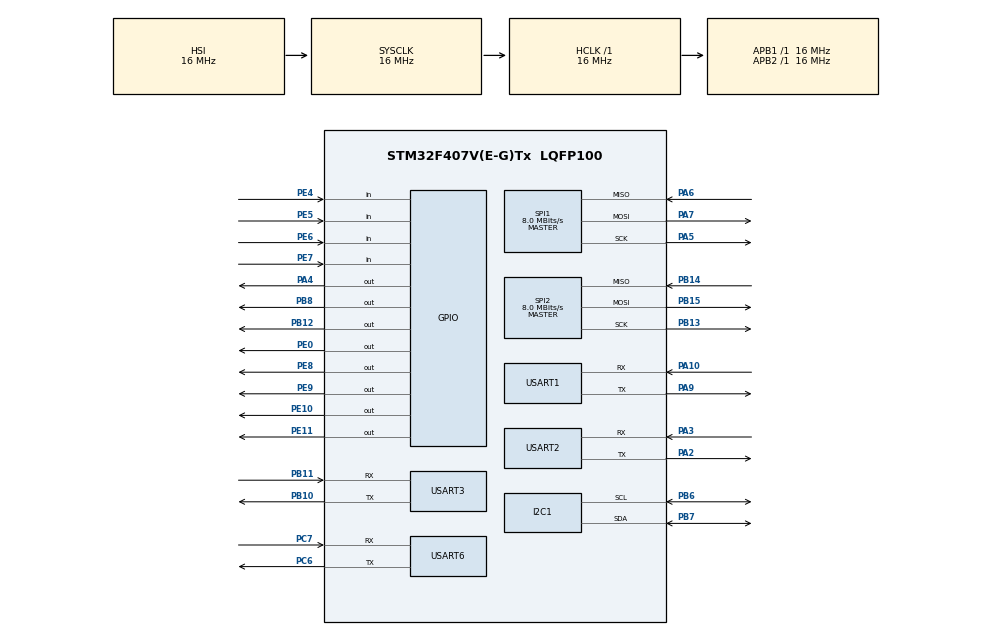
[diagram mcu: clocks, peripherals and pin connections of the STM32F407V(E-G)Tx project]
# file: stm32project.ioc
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FREERTOS.BinarySemaphores01=myBinarySem01,Dynamic,NULL,Available
FREERTOS.CountingSemaphores01=myCountingSem01,2,Dynamic,NULL,0
FREERTOS.Mutexes01=myMutex01,Dynamic,NULL,Available
FREERTOS.Queues01=myQueue01,16,uint16_t,0,Dynamic,NULL,NULL
FREERTOS.RecursiveMutexes01=myRecursiveMutex01,Dynamic,NULL,Available
FREERTOS.Tasks01=defaultTask,24,128,StartDefaultTask,Default,NULL,Dynamic,NULL,NULL;myTask02,8,128,StartTask02,Default,NULL,Dynamic,NULL,NULL
FREERTOS.Timers01=myTimer01,Callback01,osTimerPeriodic,Default,NULL,Dynamic,NULL
FREERTOS.configTOTAL_HEAP_SIZE=30720
FREERTOS.configUSE_NEWLIB_REENTRANT=1
Mcu.Family=STM32F4
Mcu.Name=STM32F407V(E-G)Tx
Mcu.Package=LQFP100
NVIC.PriorityGroup=NVIC_PRIORITYGROUP_4
NVIC.TIM1_UP_TIM10_IRQn=true\:15\:0\:false\:false\:true\:false\:false\:true\:true
NVIC.TimeBase=TIM1_UP_TIM10_IRQn
NVIC.TimeBaseIP=TIM1
NVIC.USART1_IRQn=true\:5\:0\:false\:false\:true\:true\:true\:true\:true
NVIC.USART2_IRQn=true\:5\:0\:false\:false\:true\:true\:true\:true\:true
NVIC.USART3_IRQn=true\:5\:0\:false\:false\:true\:true\:true\:true\:true
NVIC.USART6_IRQn=true\:5\:0\:false\:false\:true\:true\:true\:true\:true
PA10.Mode=Asynchronous
PA10.Signal=USART1_RX
PA13.Mode=Serial_Wire
PA13.Signal=SYS_JTMS-SWDIO
PA14.Mode=Serial_Wire
PA14.Signal=SYS_JTCK-SWCLK
PA2.Mode=Asynchronous
PA2.Signal=USART2_TX
PA3.Mode=Asynchronous
PA3.Signal=USART2_RX
PA4.Signal=GPIO_Output
PA5.Mode=Full_Duplex_Master
PA5.Signal=SPI1_SCK
PA6.Mode=Full_Duplex_Master
PA6.Signal=SPI1_MISO
PA7.Mode=Full_Duplex_Master
PA7.Signal=SPI1_MOSI
PA9.Mode=Asynchronous
PA9.Signal=USART1_TX
PB10.Mode=Asynchronous
PB10.Signal=USART3_TX
PB11.Mode=Asynchronous
PB11.Signal=USART3_RX
PB12.Signal=GPIO_Output
PB13.Mode=Full_Duplex_Master
PB13.Signal=SPI2_SCK
PB14.Mode=Full_Duplex_Master
PB14.Signal=SPI2_MISO
PB15.Mode=Full_Duplex_Master
PB15.Signal=SPI2_MOSI
PB6.Mode=I2C
PB6.Signal=I2C1_SCL
PB7.Mode=I2C
PB7.Signal=I2C1_SDA
PB8.Signal=GPIO_Output
PC14-OSC32_IN.Mode=LSE-External-Oscillator
PC14-OSC32_IN.Signal=RCC_OSC32_IN
PC15-OSC32_OUT.Mode=LSE-External-Oscillator
PC15-OSC32_OUT.Signal=RCC_OSC32_OUT
PC6.Mode=Asynchronous
PC6.Signal=USART6_TX
PC7.Mode=Asynchronous
PC7.Signal=USART6_RX
PE0.Signal=GPIO_Output
PE10.Signal=GPIO_Output
PE11.Signal=GPIO_Output
PE4.Signal=GPIO_Input
PE5.Signal=GPIO_Input
PE6.Signal=GPIO_Input
PE7.Signal=GPIO_Input
PE8.Signal=GPIO_Output
PE9.Signal=GPIO_Output
PH0-OSC_IN.Mode=HSE-External-Oscillator
PH0-OSC_IN.Signal=RCC_OSC_IN
PH1-OSC_OUT.Mode=HSE-External-Oscillator
PH1-OSC_OUT.Signal=RCC_OSC_OUT
ProjectManager.HeapSize=0x200
ProjectManager.StackSize=0x400
ProjectManager.TargetToolchain=CMake
RCC.AHBFreq_Value=16000000
RCC.APB1Freq_Value=16000000
RCC.APB2Freq_Value=16000000
RCC.CortexFreq_Value=16000000
RCC.HSE_VALUE=25000000
RCC.HSI_VALUE=16000000
RCC.SYSCLKFreq_VALUE=16000000
RCC.VCOOutputFreq_Value=192000000
SPI1.CalculateBaudRate=8.0 MBits/s
SPI1.Direction=SPI_DIRECTION_2LINES
SPI1.Mode=SPI_MODE_MASTER
SPI1.VirtualType=VM_MASTER
SPI2.CalculateBaudRate=8.0 MBits/s
SPI2.Direction=SPI_DIRECTION_2LINES
SPI2.Mode=SPI_MODE_MASTER
SPI2.VirtualType=VM_MASTER
USART1.VirtualMode=VM_ASYNC
USART2.VirtualMode=VM_ASYNC
USART3.VirtualMode=VM_ASYNC
USART6.VirtualMode=VM_ASYNC
VP_FREERTOS_VS_CMSIS_V2.Mode=CMSIS_V2
VP_IWDG_VS_IWDG.Mode=IWDG_Activate
VP_RTC_VS_RTC_Activate.Mode=RTC_Enabled
VP_RTC_VS_RTC_Calendar.Mode=RTC_Calendar
VP_SYS_VS_tim1.Mode=TIM1
board=custom

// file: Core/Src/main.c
/* USER CODE BEGIN Header */
/**
  ******************************************************************************
  * @file           : main.c
  * @brief          : Main program body
  ******************************************************************************
  * @attention
  *
  * Copyright (c) 2026 STMicroelectronics.
  * All rights reserved.
  *
  * This software is licensed under terms that can be found in the LICENSE file
  * in the root directory of this software component.
  * If no LICENSE file comes with this software, it is provided AS-IS.
  *
  ******************************************************************************
  */
/* USER CODE END Header */
#include "main.h"
#include "cmsis_os.h"

/* USER CODE BEGIN Includes */
#include "task_auth.h"
#include "task_display.h"
#include "task_cloud.h"
#include "task_keypad.h"
#include "task_logger.h"
#include "task_supervisor.h"
#include "drv_relay.h"
#include "drv_buzzer.h"
/* USER CODE END Includes */

I2C_HandleTypeDef hi2c1;

IWDG_HandleTypeDef hiwdg;

RTC_HandleTypeDef hrtc;

SPI_HandleTypeDef hspi1;
SPI_HandleTypeDef hspi2;

UART_HandleTypeDef huart1;
UART_HandleTypeDef huart2;
UART_HandleTypeDef huart3;
UART_HandleTypeDef huart6;

/* Definitions for defaultTask */
osThreadId_t defaultTaskHandle;
const osThreadAttr_t defaultTask_attributes = {
  .name = "defaultTask",
  .stack_size = 128 * 4,
  .priority = (osPriority_t) osPriorityNormal,
};
/* Definitions for myTask02 */
osThreadId_t myTask02Handle;
const osThreadAttr_t myTask02_attributes = {
  .name = "myTask02",
  .stack_size = 128 * 4,
  .priority = (osPriority_t) osPriorityLow,
};
/* Definitions for myQueue01 */
osMessageQueueId_t myQueue01Handle;
const osMessageQueueAttr_t myQueue01_attributes = {
  .name = "myQueue01"
};
/* Definitions for myTimer01 */
osTimerId_t myTimer01Handle;
const osTimerAttr_t myTimer01_attributes = {
  .name = "myTimer01"
};
/* Definitions for myMutex01 */
osMutexId_t myMutex01Handle;
const osMutexAttr_t myMutex01_attributes = {
  .name = "myMutex01"
};
/* Definitions for myRecursiveMutex01 */
osMutexId_t myRecursiveMutex01Handle;
const osMutexAttr_t myRecursiveMutex01_attributes = {
  .name = "myRecursiveMutex01",
  .attr_bits = osMutexRecursive,
};
/* Definitions for myBinarySem01 */
osSemaphoreId_t myBinarySem01Handle;
const osSemaphoreAttr_t myBinarySem01_attributes = {
  .name = "myBinarySem01"
};
/* Definitions for myCountingSem01 */
osSemaphoreId_t myCountingSem01Handle;
const osSemaphoreAttr_t myCountingSem01_attributes = {
  .name = "myCountingSem01"
};
/* USER CODE BEGIN PV */
system_state_t g_sys_state = STATE_IDLE;
uint32_t g_boot_time = 0;
EventGroupHandle_t g_sys_events = NULL;
QueueHandle_t g_auth_queue = NULL, g_log_queue = NULL, g_display_queue = NULL, g_cloud_queue = NULL, g_cmd_queue = NULL;
SemaphoreHandle_t g_flash_mutex = NULL, g_user_mutex = NULL, g_display_mutex = NULL;
/* USER CODE END PV */

void SystemClock_Config(void);
static void MX_GPIO_Init(void);
static void MX_I2C1_Init(void);
static void MX_IWDG_Init(void);
static void MX_RTC_Init(void);
static void MX_SPI1_Init(void);
static void MX_SPI2_Init(void);
static void MX_USART1_UART_Init(void);
static void MX_USART2_UART_Init(void);
static void MX_USART3_UART_Init(void);
static void MX_USART6_UART_Init(void);
void StartDefaultTask(void *argument);
void StartTask02(void *argument);
void Callback01(void *argument);

/* USER CODE BEGIN 0 */
void system_set_state(system_state_t s) { g_sys_state = s; }

const char* auth_method_str(auth_method_t m) {
    switch (m) {
        case AUTH_METHOD_FINGERPRINT: return "fingerprint";
        case AUTH_METHOD_RFID:        return "RFID";
        case AUTH_METHOD_PASSWORD:    return "password";
        default:                      return "unknown";
    }
}

const char* auth_result_str(auth_result_t r) {
    switch (r) {
        case AUTH_SUCCESS:      return "success";
        case AUTH_FAIL_WRONG:   return "wrong";
        case AUTH_FAIL_LOCKOUT: return "lockout";
        default:                return "unknown";
    }
}

uint32_t get_timestamp(void) { return HAL_GetTick() + g_boot_time; }
/* USER CODE END 0 */

int main(void)
{

  /* MCU Configuration--------------------------------------------------------*/

  /* Reset of all peripherals, Initializes the Flash interface and the Systick. */
  HAL_Init();

  /* Configure the system clock */
  SystemClock_Config();

  /* Initialize all configured peripherals */
  MX_GPIO_Init();
  MX_I2C1_Init();
  MX_IWDG_Init();
  MX_RTC_Init();
  MX_SPI1_Init();
  MX_SPI2_Init();
  MX_USART1_UART_Init();
  MX_USART2_UART_Init();
  MX_USART3_UART_Init();
  MX_USART6_UART_Init();
  /* USER CODE BEGIN 2 */
  g_boot_time = HAL_GetTick();
  relay_init();
  buzzer_init();
  /* USER CODE END 2 */

  /* Init scheduler */
  osKernelInitialize();
  /* Create the mutex(es) */
  /* creation of myMutex01 */
  myMutex01Handle = osMutexNew(&myMutex01_attributes);

  /* Create the recursive mutex(es) */
  /* creation of myRecursiveMutex01 */
  myRecursiveMutex01Handle = osMutexNew(&myRecursiveMutex01_attributes);

  /* Create the semaphores(s) */
  /* creation of myBinarySem01 */
  myBinarySem01Handle = osSemaphoreNew(1, 1, &myBinarySem01_attributes);

  /* creation of myCountingSem01 */
  myCountingSem01Handle = osSemaphoreNew(2, 0, &myCountingSem01_attributes);

  /* Create the timer(s) */
  /* creation of myTimer01 */
  myTimer01Handle = osTimerNew(Callback01, osTimerPeriodic, NULL, &myTimer01_attributes);

  /* Create the queue(s) */
  /* creation of myQueue01 */
  myQueue01Handle = osMessageQueueNew (16, sizeof(uint16_t), &myQueue01_attributes);

  /* USER CODE BEGIN RTOS_QUEUES */
  /* add queues, ... */
  g_sys_events = xEventGroupCreate();
  g_auth_queue = xQueueCreate(QUEUE_AUTH_DEPTH, sizeof(auth_request_t));
  g_log_queue = xQueueCreate(QUEUE_LOG_DEPTH, sizeof(log_entry_t));
  g_display_queue = xQueueCreate(10, sizeof(uint8_t));
  g_cloud_queue = xQueueCreate(10, sizeof(uint8_t));
  g_cmd_queue = xQueueCreate(5, sizeof(uint8_t));
  g_flash_mutex = xSemaphoreCreateMutex();
  g_user_mutex = xSemaphoreCreateMutex();
  g_display_mutex = xSemaphoreCreateMutex();
  /* USER CODE END RTOS_QUEUES */

  /* Create the thread(s) */
  /* creation of defaultTask */
  defaultTaskHandle = osThreadNew(StartDefaultTask, NULL, &defaultTask_attributes);

  /* creation of myTask02 */
  myTask02Handle = osThreadNew(StartTask02, NULL, &myTask02_attributes);

  /* USER CODE BEGIN RTOS_THREADS */
  /* add threads, ... */
  xTaskCreate(task_auth_entry,      "Auth",   STACK_AUTH,       NULL, PRIO_AUTH,       NULL);
  xTaskCreate(task_display_entry,   "Disp",   STACK_DISPLAY,    NULL, PRIO_DISPLAY,    NULL);
  xTaskCreate(task_keypad_entry,    "Keypad", STACK_KEYPAD,     NULL, PRIO_KEYPAD,     NULL);
  xTaskCreate(task_logger_entry,    "Logger", STACK_LOGGER,     NULL, PRIO_LOGGER,     NULL);
  xTaskCreate(task_cloud_entry,     "Cloud",  STACK_CLOUD,      NULL, PRIO_CLOUD,      NULL);
  xTaskCreate(task_supervisor_entry,"Super",  STACK_SUPERVISOR, NULL, PRIO_SUPERVISOR, NULL);
  /* USER CODE END RTOS_THREADS */

  /* Start scheduler */
  osKernelStart();

  /* We should never get here as control is now taken by the scheduler */

  /* Infinite loop */
  while (1)
  {

  }
}

void SystemClock_Config(void)
{
  RCC_OscInitTypeDef RCC_OscInitStruct = {0};
  RCC_ClkInitTypeDef RCC_ClkInitStruct = {0};

  /** Configure the main internal regulator output voltage
  */
  __HAL_RCC_PWR_CLK_ENABLE();
  __HAL_PWR_VOLTAGESCALING_CONFIG(PWR_REGULATOR_VOLTAGE_SCALE1);

  /** Initializes the RCC Oscillators according to the specified parameters
  * in the RCC_OscInitTypeDef structure.
  */
  RCC_OscInitStruct.OscillatorType = RCC_OSCILLATORTYPE_HSI|RCC_OSCILLATORTYPE_LSI;
  RCC_OscInitStruct.HSIState = RCC_HSI_ON;
  RCC_OscInitStruct.HSICalibrationValue = RCC_HSICALIBRATION_DEFAULT;
  RCC_OscInitStruct.LSIState = RCC_LSI_ON;
  RCC_OscInitStruct.PLL.PLLState = RCC_PLL_NONE;
  if (HAL_RCC_OscConfig(&RCC_OscInitStruct) != HAL_OK)
  {
    Error_Handler();
  }

  /** Initializes the CPU, AHB and APB buses clocks
  */
  RCC_ClkInitStruct.ClockType = RCC_CLOCKTYPE_HCLK|RCC_CLOCKTYPE_SYSCLK
                              |RCC_CLOCKTYPE_PCLK1|RCC_CLOCKTYPE_PCLK2;
  RCC_ClkInitStruct.SYSCLKSource = RCC_SYSCLKSOURCE_HSI;
  RCC_ClkInitStruct.AHBCLKDivider = RCC_SYSCLK_DIV1;
  RCC_ClkInitStruct.APB1CLKDivider = RCC_HCLK_DIV1;
  RCC_ClkInitStruct.APB2CLKDivider = RCC_HCLK_DIV1;

  if (HAL_RCC_ClockConfig(&RCC_ClkInitStruct, FLASH_LATENCY_0) != HAL_OK)
  {
    Error_Handler();
  }
}

static void MX_I2C1_Init(void)
{

  hi2c1.Instance = I2C1;
  hi2c1.Init.ClockSpeed = 100000;
  hi2c1.Init.DutyCycle = I2C_DUTYCYCLE_2;
  hi2c1.Init.OwnAddress1 = 0;
  hi2c1.Init.AddressingMode = I2C_ADDRESSINGMODE_7BIT;
  hi2c1.Init.DualAddressMode = I2C_DUALADDRESS_DISABLE;
  hi2c1.Init.OwnAddress2 = 0;
  hi2c1.Init.GeneralCallMode = I2C_GENERALCALL_DISABLE;
  hi2c1.Init.NoStretchMode = I2C_NOSTRETCH_DISABLE;
  if (HAL_I2C_Init(&hi2c1) != HAL_OK)
  {
    Error_Handler();
  }

}

static void MX_IWDG_Init(void)
{

  hiwdg.Instance = IWDG;
  hiwdg.Init.Prescaler = IWDG_PRESCALER_4;
  hiwdg.Init.Reload = 4095;
  if (HAL_IWDG_Init(&hiwdg) != HAL_OK)
  {
    Error_Handler();
  }

}

static void MX_RTC_Init(void)
{

  RTC_TimeTypeDef sTime = {0};
  RTC_DateTypeDef sDate = {0};

  /** Initialize RTC Only
  */
  hrtc.Instance = RTC;
  hrtc.Init.HourFormat = RTC_HOURFORMAT_24;
  hrtc.Init.AsynchPrediv = 127;
  hrtc.Init.SynchPrediv = 255;
  hrtc.Init.OutPut = RTC_OUTPUT_DISABLE;
  hrtc.Init.OutPutPolarity = RTC_OUTPUT_POLARITY_HIGH;
  hrtc.Init.OutPutType = RTC_OUTPUT_TYPE_OPENDRAIN;
  if (HAL_RTC_Init(&hrtc) != HAL_OK)
  {
    Error_Handler();
  }

  /** Initialize RTC and set the Time and Date
  */
  sTime.Hours = 0x0;
  sTime.Minutes = 0x0;
  sTime.Seconds = 0x0;
  sTime.DayLightSaving = RTC_DAYLIGHTSAVING_NONE;
  sTime.StoreOperation = RTC_STOREOPERATION_RESET;
  if (HAL_RTC_SetTime(&hrtc, &sTime, RTC_FORMAT_BCD) != HAL_OK)
  {
    Error_Handler();
  }
  sDate.WeekDay = RTC_WEEKDAY_MONDAY;
  sDate.Month = RTC_MONTH_JANUARY;
  sDate.Date = 0x1;
  sDate.Year = 0x0;

  if (HAL_RTC_SetDate(&hrtc, &sDate, RTC_FORMAT_BCD) != HAL_OK)
  {
    Error_Handler();
  }

}

static void MX_SPI1_Init(void)
{

  /* SPI1 parameter configuration*/
  hspi1.Instance = SPI1;
  hspi1.Init.Mode = SPI_MODE_MASTER;
  hspi1.Init.Direction = SPI_DIRECTION_2LINES;
  hspi1.Init.DataSize = SPI_DATASIZE_8BIT;
  hspi1.Init.CLKPolarity = SPI_POLARITY_LOW;
  hspi1.Init.CLKPhase = SPI_PHASE_1EDGE;
  hspi1.Init.NSS = SPI_NSS_SOFT;
  hspi1.Init.BaudRatePrescaler = SPI_BAUDRATEPRESCALER_2;
  hspi1.Init.FirstBit = SPI_FIRSTBIT_MSB;
  hspi1.Init.TIMode = SPI_TIMODE_DISABLE;
  hspi1.Init.CRCCalculation = SPI_CRCCALCULATION_DISABLE;
  hspi1.Init.CRCPolynomial = 10;
  if (HAL_SPI_Init(&hspi1) != HAL_OK)
  {
    Error_Handler();
  }

}

static void MX_SPI2_Init(void)
{

  /* SPI2 parameter configuration*/
  hspi2.Instance = SPI2;
  hspi2.Init.Mode = SPI_MODE_MASTER;
  hspi2.Init.Direction = SPI_DIRECTION_2LINES;
  hspi2.Init.DataSize = SPI_DATASIZE_8BIT;
  hspi2.Init.CLKPolarity = SPI_POLARITY_LOW;
  hspi2.Init.CLKPhase = SPI_PHASE_1EDGE;
  hspi2.Init.NSS = SPI_NSS_SOFT;
  hspi2.Init.BaudRatePrescaler = SPI_BAUDRATEPRESCALER_2;
  hspi2.Init.FirstBit = SPI_FIRSTBIT_MSB;
  hspi2.Init.TIMode = SPI_TIMODE_DISABLE;
  hspi2.Init.CRCCalculation = SPI_CRCCALCULATION_DISABLE;
  hspi2.Init.CRCPolynomial = 10;
  if (HAL_SPI_Init(&hspi2) != HAL_OK)
  {
    Error_Handler();
  }

}

static void MX_USART1_UART_Init(void)
{

  huart1.Instance = USART1;
  huart1.Init.BaudRate = 115200;
  huart1.Init.WordLength = UART_WORDLENGTH_8B;
  huart1.Init.StopBits = UART_STOPBITS_1;
  huart1.Init.Parity = UART_PARITY_NONE;
  huart1.Init.Mode = UART_MODE_TX_RX;
  huart1.Init.HwFlowCtl = UART_HWCONTROL_NONE;
  huart1.Init.OverSampling = UART_OVERSAMPLING_16;
  if (HAL_UART_Init(&huart1) != HAL_OK)
  {
    Error_Handler();
  }

}

static void MX_USART2_UART_Init(void)
{

  huart2.Instance = USART2;
  huart2.Init.BaudRate = 115200;
  huart2.Init.WordLength = UART_WORDLENGTH_8B;
  huart2.Init.StopBits = UART_STOPBITS_1;
  huart2.Init.Parity = UART_PARITY_NONE;
  huart2.Init.Mode = UART_MODE_TX_RX;
  huart2.Init.HwFlowCtl = UART_HWCONTROL_NONE;
  huart2.Init.OverSampling = UART_OVERSAMPLING_16;
  if (HAL_UART_Init(&huart2) != HAL_OK)
  {
    Error_Handler();
  }

}

static void MX_USART3_UART_Init(void)
{

  huart3.Instance = USART3;
  huart3.Init.BaudRate = 115200;
  huart3.Init.WordLength = UART_WORDLENGTH_8B;
  huart3.Init.StopBits = UART_STOPBITS_1;
  huart3.Init.Parity = UART_PARITY_NONE;
  huart3.Init.Mode = UART_MODE_TX_RX;
  huart3.Init.HwFlowCtl = UART_HWCONTROL_NONE;
  huart3.Init.OverSampling = UART_OVERSAMPLING_16;
  if (HAL_UART_Init(&huart3) != HAL_OK)
  {
    Error_Handler();
  }

}

static void MX_USART6_UART_Init(void)
{

  huart6.Instance = USART6;
  huart6.Init.BaudRate = 115200;
  huart6.Init.WordLength = UART_WORDLENGTH_8B;
  huart6.Init.StopBits = UART_STOPBITS_1;
  huart6.Init.Parity = UART_PARITY_NONE;
  huart6.Init.Mode = UART_MODE_TX_RX;
  huart6.Init.HwFlowCtl = UART_HWCONTROL_NONE;
  huart6.Init.OverSampling = UART_OVERSAMPLING_16;
  if (HAL_UART_Init(&huart6) != HAL_OK)
  {
    Error_Handler();
  }

}

static void MX_GPIO_Init(void)
{
  GPIO_InitTypeDef GPIO_InitStruct = {0};

  /* GPIO Ports Clock Enable */
  __HAL_RCC_GPIOE_CLK_ENABLE();
  __HAL_RCC_GPIOC_CLK_ENABLE();
  __HAL_RCC_GPIOH_CLK_ENABLE();
  __HAL_RCC_GPIOA_CLK_ENABLE();
  __HAL_RCC_GPIOB_CLK_ENABLE();

  /*Configure GPIO pin Output Level */
  HAL_GPIO_WritePin(GPIOA, GPIO_PIN_4, GPIO_PIN_RESET);

  /*Configure GPIO pin Output Level */
  HAL_GPIO_WritePin(GPIOE, GPIO_PIN_8|GPIO_PIN_9|GPIO_PIN_10|GPIO_PIN_11
                          |GPIO_PIN_0, GPIO_PIN_RESET);

  /*Configure GPIO pin Output Level */
  HAL_GPIO_WritePin(GPIOB, GPIO_PIN_12|GPIO_PIN_8, GPIO_PIN_RESET);

  /*Configure GPIO pins : PE4 PE5 PE6 PE7 */
  GPIO_InitStruct.Pin = GPIO_PIN_4|GPIO_PIN_5|GPIO_PIN_6|GPIO_PIN_7;
  GPIO_InitStruct.Mode = GPIO_MODE_INPUT;
  GPIO_InitStruct.Pull = GPIO_NOPULL;
  HAL_GPIO_Init(GPIOE, &GPIO_InitStruct);

  /*Configure GPIO pin : PA4 */
  GPIO_InitStruct.Pin = GPIO_PIN_4;
  GPIO_InitStruct.Mode = GPIO_MODE_OUTPUT_PP;
  GPIO_InitStruct.Pull = GPIO_NOPULL;
  GPIO_InitStruct.Speed = GPIO_SPEED_FREQ_LOW;
  HAL_GPIO_Init(GPIOA, &GPIO_InitStruct);

  /*Configure GPIO pins : PE8 PE9 PE10 PE11
                           PE0 */
  GPIO_InitStruct.Pin = GPIO_PIN_8|GPIO_PIN_9|GPIO_PIN_10|GPIO_PIN_11
                          |GPIO_PIN_0;
  GPIO_InitStruct.Mode = GPIO_MODE_OUTPUT_PP;
  GPIO_InitStruct.Pull = GPIO_NOPULL;
  GPIO_InitStruct.Speed = GPIO_SPEED_FREQ_LOW;
  HAL_GPIO_Init(GPIOE, &GPIO_InitStruct);

  /*Configure GPIO pins : PB12 PB8 */
  GPIO_InitStruct.Pin = GPIO_PIN_12|GPIO_PIN_8;
  GPIO_InitStruct.Mode = GPIO_MODE_OUTPUT_PP;
  GPIO_InitStruct.Pull = GPIO_NOPULL;
  GPIO_InitStruct.Speed = GPIO_SPEED_FREQ_LOW;
  HAL_GPIO_Init(GPIOB, &GPIO_InitStruct);

}

void StartDefaultTask(void *argument)
{
  for(;;)
  {
    osDelay(1);
  }
}

void StartTask02(void *argument)
{
  for(;;)
  {
    osDelay(1);
  }
}

/* Callback01 function */
void Callback01(void *argument)
{
}

void HAL_TIM_PeriodElapsedCallback(TIM_HandleTypeDef *htim)
{
  if (htim->Instance == TIM1)
  {
    HAL_IncTick();
  }
}

void Error_Handler(void)
{
  __disable_irq();
  while (1)
  {
  }
}
